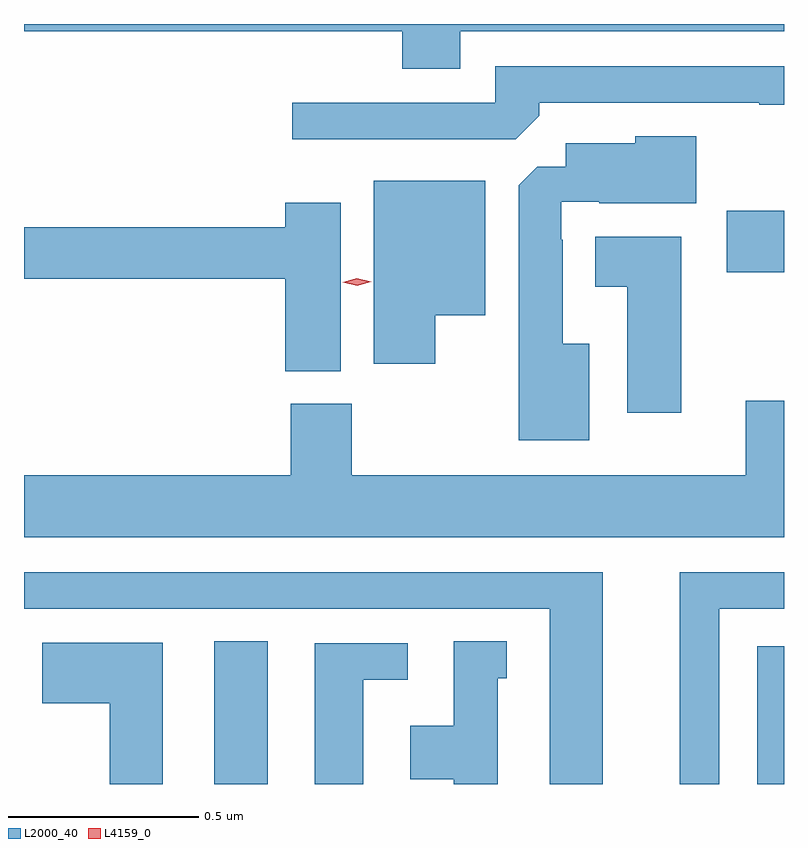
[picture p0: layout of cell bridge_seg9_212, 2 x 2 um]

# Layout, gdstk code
import gdstk
lib = gdstk.Library(unit=1e-6, precision=1e-09)
def R(c, l, rs):  # rectangles x0, y0, x1, y1
    for r in rs: c.add(gdstk.rectangle(r[:2], r[2:], *l))
def P(c, l, *ps):  # polygons
    for p in ps: c.add(gdstk.Polygon(p, *l))
L2000_40 = (2000, 40)
L4159_0 = (4159, 0)

bridge_seg9_212 = lib.new_cell('bridge_seg9_212')
R(bridge_seg9_212, L2000_40, [(195.134,1206.427,195.274,1206.803), (196.562,1206.427,196.633,1206.789), (196.482,1207.774,196.633,1207.936)])
P(bridge_seg9_212, L2000_40, [(195.781,1208.408),(196.633,1208.408),(196.633,1208.427),(194.633,1208.427),(194.633,1208.408),(195.629,1208.408),(195.629,1208.309),(195.781,1208.309)],
  [(195.989,1208.186),(195.989,1208.22),(196.568,1208.22),(196.568,1208.215),(196.633,1208.215),(196.633,1208.316),(195.873,1208.316),(195.873,1208.22),(195.339,1208.22),(195.339,1208.124),(195.927,1208.124)],
  [(196.12,1207.585),(196.051,1207.585),(196.051,1207.859),(196.047,1207.859),(196.047,1207.959),(196.147,1207.959),(196.147,1207.955),(196.402,1207.955),(196.402,1208.131),(196.242,1208.131),(196.242,1208.113),(196.058,1208.113),(196.058,1208.052),(195.984,1208.052),(195.935,1208.003),(195.935,1207.331),(196.12,1207.331)],
  [(195.715,1207.661),(195.847,1207.661),(195.847,1208.014),(195.554,1208.014),(195.554,1207.533),(195.715,1207.533)],
  [(195.466,1207.957),(195.32,1207.957),(195.32,1207.892),(194.633,1207.892),(194.633,1207.756),(195.32,1207.756),(195.32,1207.513),(195.466,1207.513)],
  [(196.363,1207.867),(196.136,1207.867),(196.136,1207.736),(196.22,1207.736),(196.22,1207.404),(196.363,1207.404)],
  [(196.633,1207.435),(196.532,1207.435),(196.532,1207.24),(195.495,1207.24),(195.495,1207.428),(195.335,1207.428),(195.335,1207.24),(194.633,1207.24),(194.633,1207.076),(196.633,1207.076)],
  [(196.156,1206.984),(194.633,1206.984),(194.633,1206.888),(196.016,1206.888),(196.016,1206.427),(196.156,1206.427)],
  [(196.462,1206.888),(196.633,1206.888),(196.633,1206.984),(196.358,1206.984),(196.358,1206.427),(196.462,1206.427)],
  [(195.88,1206.705),(195.904,1206.705),(195.904,1206.803),(195.764,1206.803),(195.764,1206.58),(195.65,1206.58),(195.65,1206.44),(195.764,1206.44),(195.764,1206.427),(195.88,1206.427)],
  [(194.998,1206.799),(194.681,1206.799),(194.681,1206.64),(194.858,1206.64),(194.858,1206.427),(194.998,1206.427)],
  [(195.526,1206.702),(195.643,1206.702),(195.643,1206.798),(195.398,1206.798),(195.398,1206.427),(195.526,1206.427)])
P(bridge_seg9_212, L4159_0, [(195.51,1207.738),(195.472,1207.747),(195.472,1207.747),(195.472,1207.747),(195.509,1207.758),(195.547,1207.749),(195.547,1207.749),(195.547,1207.749)])

lib.write_gds('bridge_seg9_212.gds')
